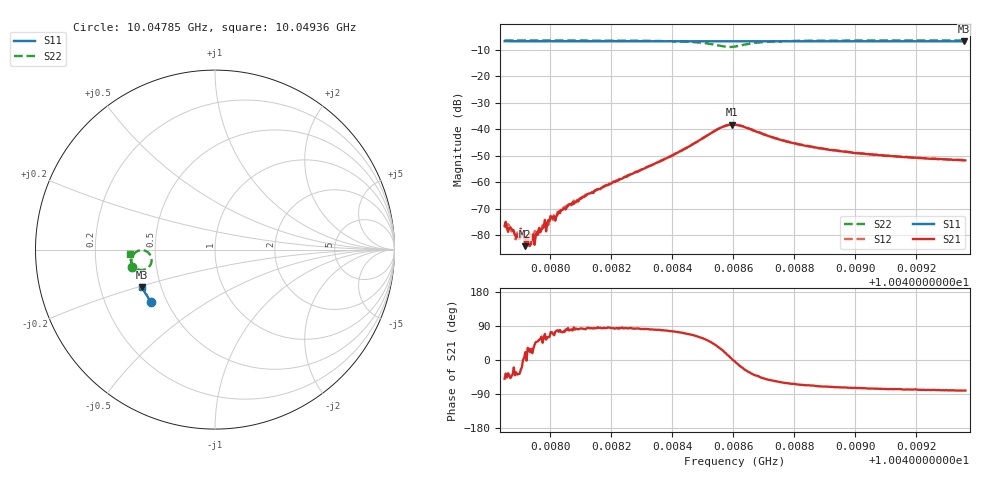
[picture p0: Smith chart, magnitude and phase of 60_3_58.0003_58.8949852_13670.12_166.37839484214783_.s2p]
#  HZ  S  RI  R  50.00
! Rohde & Schwarz Vector Network Analyzer
! Rohde-Schwarz,ZNB20-2Port,1311601062101988,3.16
! Created: UTC 3/21/2024, 12:52:58 AM
! freq[Hz]  re:S11  im:S11  re:S21  im:S21  re:S12  im:S12  re:S22  im:S22
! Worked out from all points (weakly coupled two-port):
!   401 points, 10.04785 GHz to 10.04936 GHz, reference 50 ohm
!   highest |S21| = -38.25 dB at 10.04859 GHz (marker M1); lowest = -84.2 dB at 10.04792 GHz (marker M2)
!   lowest |S11| = -6.8 dB at 10.04936 GHz (marker M3), VSWR 2.68, Z = 19.6 - j10.3 ohm
!   |S11| at or under -10 dB: nowhere
!   |S22| runs from -8.9 to -6.5 dB; largest |S21 - S12| = 0.00094
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1.004785e10  -0.3542 -0.293  9.83e-05 -0.000115  8.51e-05 -0.000125  -0.4645 -0.0993
1.0047858e10  -0.3544 -0.2926  9.42e-05 -9.84e-05  0.000109 -0.000118  -0.4646 -0.0989
1.0047873e10  -0.3551 -0.2918  9.45e-05 -8.79e-05  8.35e-05 -8.39e-05  -0.4647 -0.0976
1.0047892e10  -0.3558 -0.2908  7.51e-05 -5.97e-05  9.82e-05 -5.33e-05  -0.465 -0.096
1.0047903e10  -0.3564 -0.2902  0.000119 -5.92e-05  9.63e-05 -1.81e-05  -0.4652 -0.0952
1.0047918e10  -0.3568 -0.2895  5.79e-05 2.21e-05  8.95e-05 9.23e-06  -0.4651 -0.0939
1.0047952e10  -0.3584 -0.2877  6.55e-05 6.97e-05  7.79e-05 9.96e-05  -0.4655 -0.091
1.0047994e10  -0.36 -0.2854  9.72e-05 0.000167  2.95e-05 0.000153  -0.466 -0.0873
1.0048002e10  -0.3603 -0.2849  6.58e-05 0.000222  4.82e-05 0.000218  -0.4662 -0.0867
1.0048024e10  -0.3612 -0.2836  4.85e-05 0.00024  4.62e-05 0.00027  -0.4663 -0.0846
1.0048043e10  -0.362 -0.2828  7.8e-05 0.000302  6.05e-05 0.000321  -0.4664 -0.0829
1.0048104e10  -0.3643 -0.2796  6.2e-05 0.000512  3.64e-05 0.000516  -0.4668 -0.077
1.0048357e10  -0.374 -0.2656  0.000424 0.00238  0.000301 0.00242  -0.4622 -0.043
1.0048531e10  -0.3796 -0.2554  0.00607 0.00617  0.0057 0.00657  -0.4032 -0.00343
1.0048565e10  -0.3806 -0.2536  0.00993 0.00487  0.00961 0.00548  -0.3684 -0.0202
1.0048595e10  -0.3812 -0.2523  0.0122 0.000814  0.0121 0.00145  -0.3531 -0.0604
1.0048606e10  -0.3816 -0.2517  0.0121 -0.000877  0.0121 -0.000145  -0.3562 -0.0768
1.0048701e10  -0.3855 -0.2471  0.00529 -0.00597  0.00571 -0.00568  -0.4299 -0.1095
1.0048859e10  -0.3912 -0.238  0.00177 -0.0043  0.00201 -0.00422  -0.4628 -0.0774
1.0049112e10  -0.3993 -0.223  0.000719 -0.00305  0.000893 -0.00301  -0.4717 -0.0473
1.0049358e10  -0.4066 -0.2085  0.000424 -0.00255  0.000563 -0.00257  -0.4739 -0.0259
1.0049362e10  -0.4069 -0.2083  0.000421 -0.00255  0.000535 -0.00255  -0.474 -0.0257
